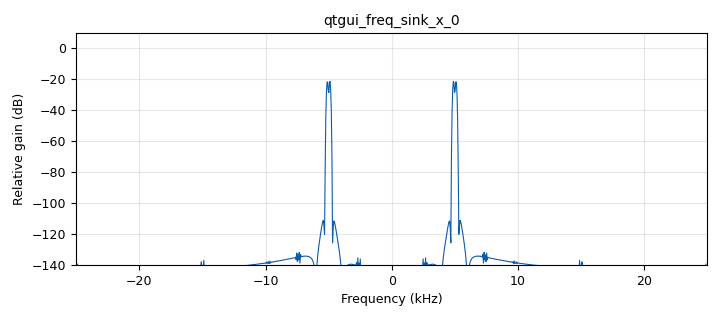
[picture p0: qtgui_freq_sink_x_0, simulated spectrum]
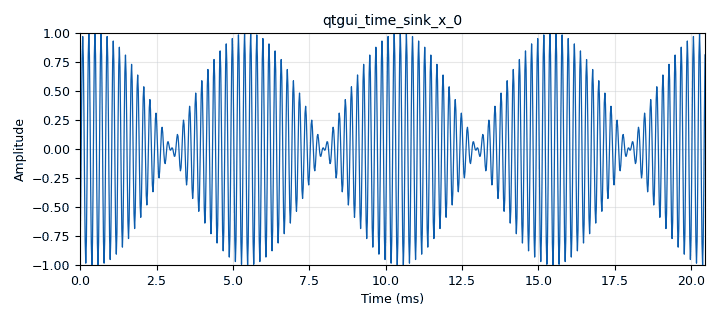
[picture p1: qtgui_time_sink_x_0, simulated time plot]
<?xml version='1.0' encoding='utf-8'?>
<?grc format='1' created='3.7.6'?>
<flow_graph>
<block>
<key>options</key>
<param><key>id</key><value>top_block</value></param>
<param><key>title</key><value>Hands_on_1</value></param>
<param><key>author</key><value>Leonardo</value></param>
<param><key>generate_options</key><value>qt_gui</value></param>
<param><key>category</key><value>Custom</value></param>
</block>
<block>
<key>variable</key>
<param><key>id</key><value>samp_rate</value></param>
<param><key>value</key><value>50000</value></param>
</block>
<block>
<key>analog_sig_source_x</key>
<param><key>id</key><value>analog_sig_source_x_0</value></param>
<param><key>type</key><value>float</value></param>
<param><key>samp_rate</key><value>samp_rate</value></param>
<param><key>waveform</key><value>analog.GR_COS_WAVE</value></param>
<param><key>freq</key><value>5000</value></param>
<param><key>amp</key><value>1</value></param>
<param><key>offset</key><value>0</value></param>
</block>
<block>
<key>analog_sig_source_x</key>
<param><key>id</key><value>analog_sig_source_x_1</value></param>
<param><key>type</key><value>float</value></param>
<param><key>samp_rate</key><value>samp_rate</value></param>
<param><key>waveform</key><value>analog.GR_COS_WAVE</value></param>
<param><key>freq</key><value>100</value></param>
<param><key>amp</key><value>1</value></param>
<param><key>offset</key><value>0</value></param>
</block>
<block>
<key>blocks_multiply_xx</key>
<param><key>id</key><value>blocks_multiply_xx_0</value></param>
<param><key>type</key><value>float</value></param>
</block>
<block>
<key>blocks_throttle</key>
<param><key>id</key><value>blocks_throttle_0</value></param>
<param><key>type</key><value>float</value></param>
<param><key>samples_per_second</key><value>samp_rate</value></param>
</block>
<block>
<key>qtgui_tab_widget</key>
<param><key>id</key><value>janela</value></param>
<param><key>num_tabs</key><value>2</value></param>
<param><key>label0</key><value>Scope</value></param>
<param><key>label1</key><value>FFT</value></param>
</block>
<block>
<key>qtgui_freq_sink_x</key>
<param><key>id</key><value>qtgui_freq_sink_x_0</value></param>
<param><key>type</key><value>float</value></param>
<param><key>fftsize</key><value>1024</value></param>
<param><key>wintype</key><value>firdes.WIN_BLACKMAN_hARRIS</value></param>
<param><key>fc</key><value>0</value></param>
<param><key>bw</key><value>samp_rate</value></param>
<param><key>gui_hint</key><value>janela@1</value></param>
<param><key>showports</key><value>True</value></param>
</block>
<block>
<key>qtgui_time_sink_x</key>
<param><key>id</key><value>qtgui_time_sink_x_0</value></param>
<param><key>type</key><value>float</value></param>
<param><key>size</key><value>1024</value></param>
<param><key>srate</key><value>samp_rate</value></param>
<param><key>gui_hint</key><value>janela@0</value></param>
<param><key>label1</key><value></value></param>
<param><key>color1</key><value>"blue"</value></param>
</block>
<connection><source_block_id>blocks_throttle_0</source_block_id><sink_block_id>qtgui_time_sink_x_0</sink_block_id><source_key>0</source_key><sink_key>0</sink_key></connection>
<connection><source_block_id>blocks_throttle_0</source_block_id><sink_block_id>qtgui_freq_sink_x_0</sink_block_id><source_key>0</source_key><sink_key>0</sink_key></connection>
<connection><source_block_id>analog_sig_source_x_0</source_block_id><sink_block_id>blocks_multiply_xx_0</sink_block_id><source_key>0</source_key><sink_key>0</sink_key></connection>
<connection><source_block_id>analog_sig_source_x_1</source_block_id><sink_block_id>blocks_multiply_xx_0</sink_block_id><source_key>0</source_key><sink_key>1</sink_key></connection>
<connection><source_block_id>blocks_multiply_xx_0</source_block_id><sink_block_id>blocks_throttle_0</sink_block_id><source_key>0</source_key><sink_key>0</sink_key></connection>
</flow_graph>
